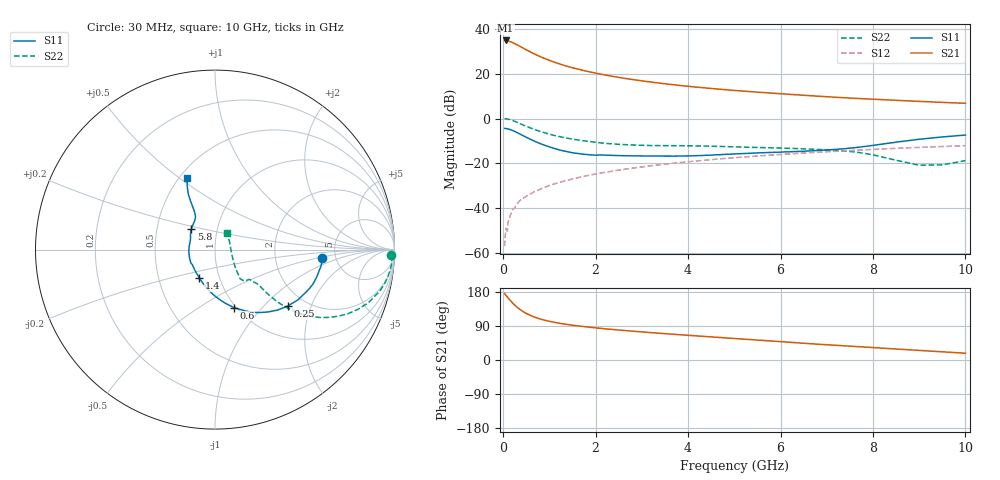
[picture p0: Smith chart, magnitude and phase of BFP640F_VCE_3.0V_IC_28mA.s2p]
! Infineon Technologies  Discrete & RF Semiconductors
! BFP640F
! VCE =  3.0 V,  IC =  28 mA
! Common Emitter S-Parameters:  Apr 2013
# GHz  S  MA  R  50
!  f  S11  S21  S12  S22
! GHz  MAG  ANG  MAG  ANG  MAG  ANG  MAG  ANG
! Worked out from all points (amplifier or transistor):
!   99 points, 30 MHz to 10 GHz, reference 50 ohm
!   highest |S21| = 34.9 dB at 50 MHz (marker M1)
!   |S21| within 3 dB of that: start of sweep to 394.1 MHz
!   unconditionally stable (mu >= 1): 1.916 GHz to end of sweep
!   at 350 MHz: K = 0.46, MSG = 34.6 dB, |S12| = -36.9 dB
!   at 3.5 GHz: K = 1.06, MAG = 16.5 dB, |S12| = -20.4 dB
!   at 10 GHz: K = 1.04, MAG = 8.2 dB, |S12| = -12.1 dB
!   S11 on the Smith chart (normalised r, x): 30 MHz: 3.90, -0.60; 250 MHz: 1.62, -1.39; 600 MHz: 0.98, -0.71; 1.4 GHz: 0.80, -0.26; 5.8 GHz: 0.75, +0.17; 10 GHz: 0.55, +0.53
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0.03  0.6002 -4.7  55.36 175.3  0.0014 95.4  0.9827 -1.9
0.05  0.598 -8.3  55.55 172.4  0.0028 72.1  0.9869 -4.5
0.09  0.588 -14.3  54.48 166.1  0.003 76.6  0.9759 -8.6
0.15  0.5636 -24.0  52.28 157.5  0.0067 81.9  0.9414 -14.7
0.2  0.5404 -31.2  49.81 150.9  0.0091 79.2  0.9046 -19.1
0.25  0.5126 -37.9  47.1 144.8  0.0102 74.5  0.8629 -22.7
0.3  0.485 -44.0  44.37 139.4  0.0123 77.3  0.8205 -25.9
0.4  0.4289 -54.9  39.03 130.1  0.0158 74.4  0.7398 -30.7
0.5  0.3796 -64.0  34.28 122.9  0.0183 72.7  0.6682 -34.1
0.6  0.339 -72.1  30.27 117.0  0.021 71.9  0.607 -36.5
0.7  0.3038 -79.2  26.94 112.2  0.0238 71.8  0.5567 -37.9
0.9  0.2516 -92.0  21.85 104.9  0.0291 70.8  0.4772 -39.6
1.1  0.2149 -103.6  18.25 99.5  0.0344 71.1  0.4192 -40.0
1.4  0.1802 -119.3  14.55 93.5  0.0418 70.4  0.361 -39.8
1.7  0.1608 -133.9  12.09 88.8  0.0497 69.6  0.3215 -39.1
2.4  0.1495 -161.0  8.643 80.2  0.0676 66.9  0.2689 -40.1
3.4  0.145 172.5  6.146 70.4  0.0928 62.4  0.2475 -43.1
5.1  0.1629 146.7  4.171 55.9  0.1352 53.8  0.2311 -48.0
5.8  0.1746 139.5  3.696 50.1  0.1525 49.9  0.2211 -48.8
6.7  0.19 128.6  3.209 42.6  0.1733 44.8  0.2061 -48.9
8.5  0.296 116.9  2.551 29.0  0.2155 34.5  0.1168 -30.4
10  0.4267 111.2  2.185 17.9  0.2475 25.7  0.1142 55.7
